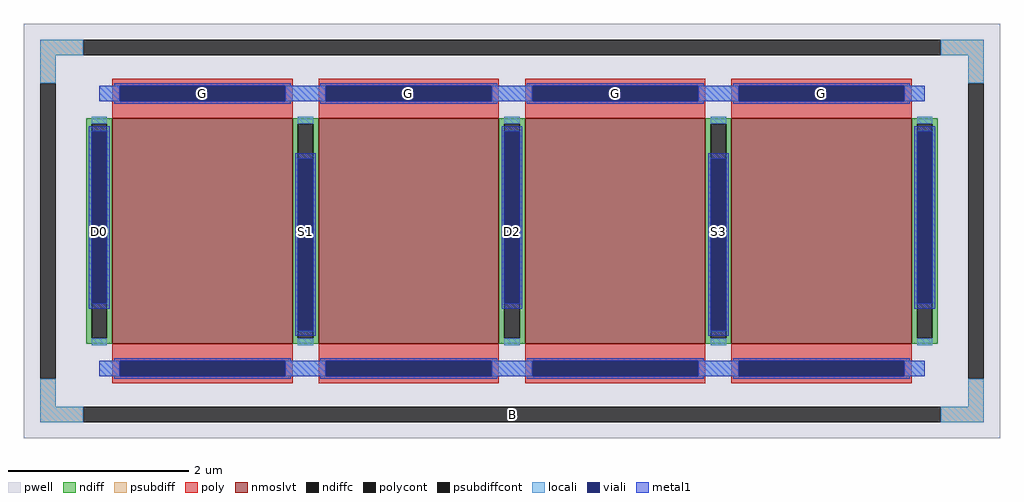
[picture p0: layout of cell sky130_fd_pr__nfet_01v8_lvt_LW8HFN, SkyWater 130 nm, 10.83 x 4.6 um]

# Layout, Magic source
magic
tech sky130A
magscale 1 2
<< pwell >>
rect -1083 -460 1083 460
<< nmoslvt >>
rect -887 -250 -487 250
rect -429 -250 -29 250
rect 29 -250 429 250
rect 487 -250 887 250
<< ndiff >>
rect -945 238 -887 250
rect -945 -238 -933 238
rect -899 -238 -887 238
rect -945 -250 -887 -238
rect -487 238 -429 250
rect -487 -238 -475 238
rect -441 -238 -429 238
rect -487 -250 -429 -238
rect -29 238 29 250
rect -29 -238 -17 238
rect 17 -238 29 238
rect -29 -250 29 -238
rect 429 238 487 250
rect 429 -238 441 238
rect 475 -238 487 238
rect 429 -250 487 -238
rect 887 238 945 250
rect 887 -238 899 238
rect 933 -238 945 238
rect 887 -250 945 -238
<< ndiffc >>
rect -933 -238 -899 238
rect -475 -238 -441 238
rect -17 -238 17 238
rect 441 -238 475 238
rect 899 -238 933 238
<< psubdiff >>
rect -1047 390 -951 424
rect 951 390 1047 424
rect -1047 328 -1013 390
rect 1013 328 1047 390
rect -1047 -390 -1013 -328
rect 1013 -390 1047 -328
rect -1047 -424 -951 -390
rect 951 -424 1047 -390
<< psubdiffcont >>
rect -951 390 951 424
rect -1047 -328 -1013 328
rect 1013 -328 1047 328
rect -951 -424 951 -390
<< poly >>
rect -887 322 -487 338
rect -887 288 -871 322
rect -503 288 -487 322
rect -887 250 -487 288
rect -429 322 -29 338
rect -429 288 -413 322
rect -45 288 -29 322
rect -429 250 -29 288
rect 29 322 429 338
rect 29 288 45 322
rect 413 288 429 322
rect 29 250 429 288
rect 487 322 887 338
rect 487 288 503 322
rect 871 288 887 322
rect 487 250 887 288
rect -887 -288 -487 -250
rect -887 -322 -871 -288
rect -503 -322 -487 -288
rect -887 -338 -487 -322
rect -429 -288 -29 -250
rect -429 -322 -413 -288
rect -45 -322 -29 -288
rect -429 -338 -29 -322
rect 29 -288 429 -250
rect 29 -322 45 -288
rect 413 -322 429 -288
rect 29 -338 429 -322
rect 487 -288 887 -250
rect 487 -322 503 -288
rect 871 -322 887 -288
rect 487 -338 887 -322
<< polycont >>
rect -871 288 -503 322
rect -413 288 -45 322
rect 45 288 413 322
rect 503 288 871 322
rect -871 -322 -503 -288
rect -413 -322 -45 -288
rect 45 -322 413 -288
rect 503 -322 871 -288
<< locali >>
rect -1047 390 -951 424
rect 951 390 1047 424
rect -1047 328 -1013 390
rect 1013 328 1047 390
rect -916 288 -871 322
rect -503 288 -413 322
rect -45 288 45 322
rect 413 288 503 322
rect 871 288 916 322
rect -933 238 -899 254
rect -933 -254 -899 -238
rect -475 238 -441 254
rect -475 -254 -441 -238
rect -17 238 17 254
rect -17 -254 17 -238
rect 441 238 475 254
rect 441 -254 475 -238
rect 899 238 933 254
rect 899 -254 933 -238
rect -916 -322 -871 -288
rect -503 -322 -413 -288
rect -45 -322 45 -288
rect 413 -322 503 -288
rect 871 -322 916 -288
rect -1047 -390 -1013 -328
rect 1013 -390 1047 -328
rect -1047 -424 -951 -390
rect 951 -424 1047 -390
<< viali >>
rect -871 288 -503 322
rect -413 288 -45 322
rect 45 288 413 322
rect 503 288 871 322
rect -933 -160 -899 221
rect -475 -221 -441 160
rect -17 -160 17 221
rect 441 -221 475 160
rect 899 -160 933 221
rect -871 -322 -503 -288
rect -413 -322 -45 -288
rect 45 -322 413 -288
rect 503 -322 871 -288
<< metal1 >>
rect -883 322 -491 328
rect -425 322 -33 328
rect 33 322 425 328
rect 491 322 883 328
rect -916 288 -871 322
rect -503 288 -413 322
rect -45 288 45 322
rect 413 288 503 322
rect 871 288 916 322
rect -883 282 -491 288
rect -425 282 -33 288
rect 33 282 425 288
rect 491 282 883 288
rect -939 221 -893 233
rect -939 -160 -933 221
rect -899 -160 -893 221
rect -23 221 23 233
rect -939 -172 -893 -160
rect -481 160 -435 172
rect -481 -221 -475 160
rect -441 -221 -435 160
rect -23 -160 -17 221
rect 17 -160 23 221
rect 893 221 939 233
rect -23 -172 23 -160
rect 435 160 481 172
rect -481 -233 -435 -221
rect 435 -221 441 160
rect 475 -221 481 160
rect 893 -160 899 221
rect 933 -160 939 221
rect 893 -172 939 -160
rect 435 -233 481 -221
rect -883 -288 -491 -282
rect -425 -288 -33 -282
rect 33 -288 425 -282
rect 491 -288 883 -282
rect -916 -322 -871 -288
rect -503 -322 -413 -288
rect -45 -322 45 -288
rect 413 -322 503 -288
rect 871 -322 916 -288
rect -883 -328 -491 -322
rect -425 -328 -33 -322
rect 33 -328 425 -322
rect 491 -328 883 -322
<< labels >>
rlabel psubdiffcont 0 -407 0 -407 0 B
port 1 nsew
rlabel ndiffc -916 0 -916 0 0 D0
port 2 nsew
rlabel polycont -687 305 -687 305 0 G
port 3 nsew
rlabel ndiffc -458 0 -458 0 0 S1
port 4 nsew
rlabel polycont -229 305 -229 305 0 G
port 3 nsew
rlabel ndiffc 0 0 0 0 0 D2
port 5 nsew
rlabel polycont 229 305 229 305 0 G
port 3 nsew
rlabel ndiffc 458 0 458 0 0 S3
port 6 nsew
rlabel polycont 687 305 687 305 0 G
port 3 nsew
<< properties >>
string FIXED_BBOX -1030 -407 1030 407
string gencell sky130_fd_pr__nfet_01v8_lvt
string library sky130
string parameters w 2.5 l 2.0 m 1 nf 4 diffcov 100 polycov 100 guard 1 glc 1 grc 1 gtc 1 gbc 1 tbcov 100 rlcov 100 topc 1 botc 1 poverlap 0 doverlap 1 lmin 0.15 wmin 0.42 class mosfet compatible {sky130_fd_pr__nfet_01v8 sky130_fd_pr__nfet_01v8_lvt  sky130_fd_bs_flash__special_sonosfet_star  sky130_fd_pr__nfet_g5v0d10v5 sky130_fd_pr__nfet_05v0_nvt  sky130_fd_pr__nfet_03v3_nvt} full_metal 1 conn_gates 1 viasrc +80 viadrn -80 viagate 100 viagb 0 viagr 0 viagl 0 viagt 0 doports 1
<< end >>
